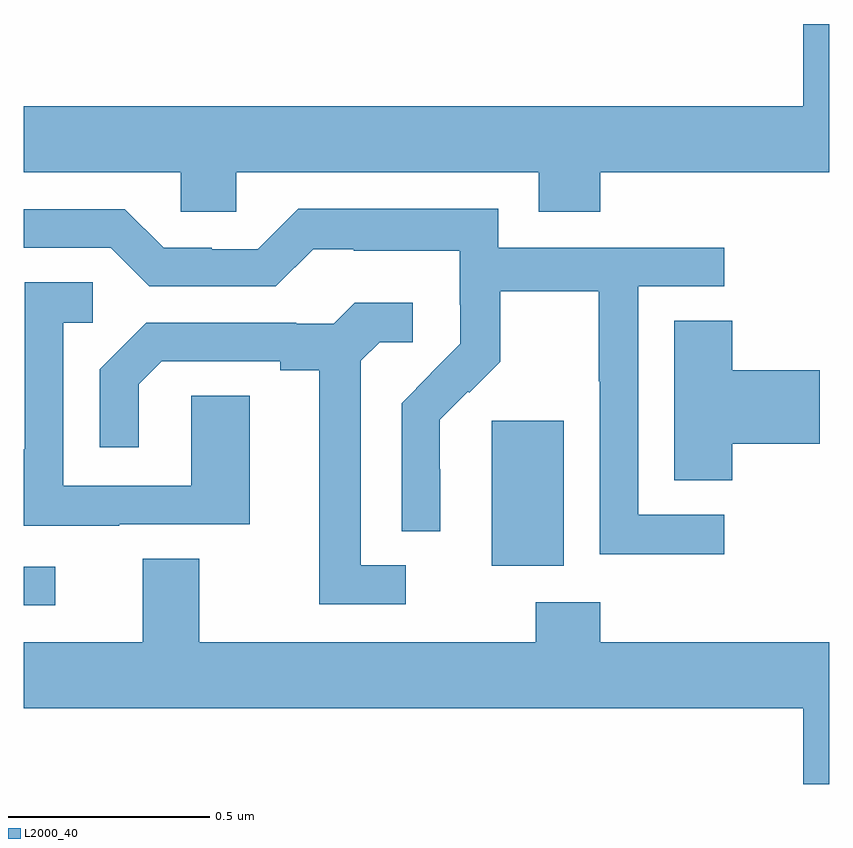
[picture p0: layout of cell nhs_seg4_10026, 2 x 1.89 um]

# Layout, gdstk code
import gdstk
lib = gdstk.Library(unit=1e-6, precision=1e-09)
def R(c, l, rs):  # rectangles x0, y0, x1, y1
    for r in rs: c.add(gdstk.rectangle(r[:2], r[2:], *l))
def P(c, l, *ps):  # polygons
    for p in ps: c.add(gdstk.Polygon(p, *l))
L2000_40 = (2000, 40)

nhs_seg4_10026 = lib.new_cell('nhs_seg4_10026')
R(nhs_seg4_10026, L2000_40, [(235,750.456,235.078,750.552), (236.162,750.554,236.341,750.915)])
P(nhs_seg4_10026, L2000_40, [(235,751.532),(235.389,751.532),(235.389,751.434),(235.527,751.434),(235.527,751.532),(236.279,751.532),(236.279,751.433),(236.432,751.433),(236.432,751.532),(237,751.532),(237,751.9),(236.936,751.9),(236.936,751.696),(235,751.696)],
  [(236.74,750.681),(236.526,750.681),(236.526,751.248),(236.74,751.248),(236.74,751.344),(236.178,751.344),(236.178,751.441),(235.681,751.441),(235.581,751.341),(235.466,751.341),(235.466,751.344),(235.347,751.344),(235.251,751.44),(235,751.44),(235,751.344),(235.215,751.344),(235.311,751.248),(235.626,751.248),(235.719,751.341),(235.819,751.341),(235.819,751.337),(236.082,751.337),(236.082,751.203),(236.084,751.203),(236.084,751.106),(236.01,751.032),(236.011,751.031),(235.938,750.958),(235.938,750.64),(236.034,750.64),(236.034,750.794),(236.033,750.794),(236.033,750.917),(236.103,750.987),(236.106,750.984),(236.183,751.061),(236.183,751.236),(236.428,751.236),(236.428,751.012),(236.43,751.012),(236.43,750.583),(236.74,750.583)],
  [(235.237,750.657),(235.561,750.657),(235.561,750.977),(235.416,750.977),(235.416,750.753),(235.098,750.753),(235.098,751.158),(235.171,751.158),(235.171,751.259),(235.002,751.259),(235.002,750.843),(235,750.843),(235,750.653),(235.237,750.653)],
  [(235.948,750.555),(235.837,750.555),(235.837,751.063),(235.884,751.11),(235.966,751.11),(235.966,751.207),(235.822,751.207),(235.77,751.155),(235.676,751.155),(235.676,751.158),(235.304,751.158),(235.188,751.042),(235.188,750.849),(235.285,750.849),(235.285,751.005),(235.342,751.062),(235.637,751.062),(235.637,751.04),(235.733,751.04),(235.733,750.459),(235.948,750.459)],
  [(236.759,750.857),(236.977,750.857),(236.977,751.04),(236.759,751.04),(236.759,751.163),(236.615,751.163),(236.615,750.766),(236.759,750.766)],
  [(237,750.364),(236.432,750.364),(236.432,750.463),(236.272,750.463),(236.272,750.364),(235.435,750.364),(235.435,750.572),(235.295,750.572),(235.295,750.364),(235,750.364),(235,750.2),(236.936,750.2),(236.936,750.012),(237,750.012)])

lib.write_gds('nhs_seg4_10026.gds')
